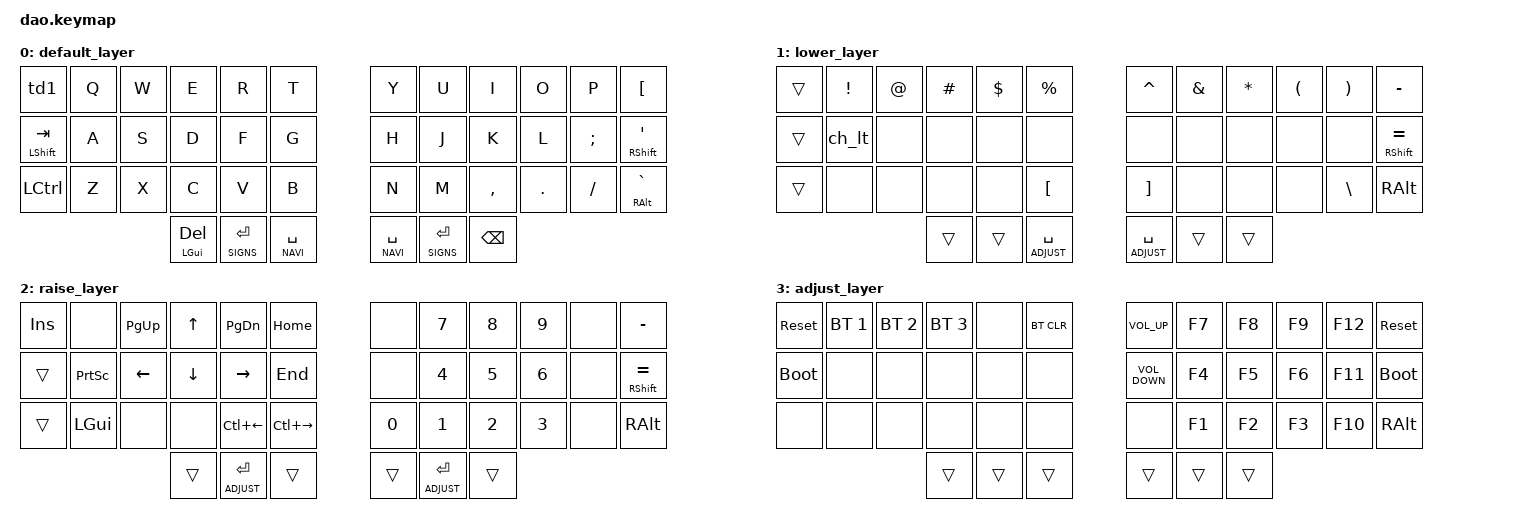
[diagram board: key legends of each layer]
/*
 * Copyright (c) 2021 Rafael Yumagulov
 *
 * SPDX-License-Identifier: MIT
 */

#include <behaviors.dtsi>
#include <dt-bindings/zmk/bt.h>
#include <dt-bindings/zmk/keys.h>
#include <dt-bindings/zmk/outputs.h>

#define LANG 0
#define SIGNS 1
#define NAVI 2
#define ADJUST 3

&lt {
    quick_tap_ms = <100>;
};

&mt {
    quick_tap_ms = <100>;
};

/ {
    behaviors {
        td0: tap_dance_0 {
            compatible = "zmk,behavior-tap-dance";
            label = "layer_switch_with_escape";
            #binding-cells = <0>;
            tapping-term-ms = <200>;
            bindings = <&ch_lt>, <&kp ESC>;
        };

        td1: tap_dance_1 {
            compatible = "zmk,behavior-tap-dance";
            label = "lang_switch_with_escape";
            #binding-cells = <0>;
            tapping-term-ms = <100>;
            bindings = <&ch_lg>, <&kp ESC>;
        };
    };

    macros {
        ch_lt: ch_lt {
            label = "ch_lt";
            compatible = "zmk,behavior-macro";
            #binding-cells = <0>;
            wait-ms = <40>;
            tap-ms = <40>;
            bindings =
                <&macro_press>,
                <&tog 1 &kp LSHIFT>,
                <&macro_tap>,
                <&kp LALT>,
                <&macro_pause_for_release>,
                <&macro_release>,
                <&tog 1 &kp LSHIFT>;
        };

        ch_lg: ch_lg {
            label = "ch_lg";
            compatible = "zmk,behavior-macro";
            #binding-cells = <0>;
            wait-ms = <20>;
            tap-ms = <20>;
            bindings =
                <&macro_press>,
                <&kp LSHIFT>,
                <&macro_tap>,
                <&kp LALT>,
                <&macro_release>,
                <&kp LSHIFT>;
        };
    };
};

/ {
    keymap {
        compatible = "zmk,keymap";

        default_layer {
            // .--------------------------------------------------------------.       .-----------------------------------------------------------.
            // | 1ch_lg/2ESC  |  Q      |  W     |  E     |  R      |  T      |       |  Y     |  U      |  I      |  O      |   P      |    [     |
            // |--------------+---------+--------+--------+---------+---------|       |--------+---------+---------+---------+----------+----------|
            // |   Tab/SHFT   |  A      |  S     |  D     |  F      |  G      |       |  H     |  J      |  K      |  L      |    ;     |   '/RSHFT|
            // |--------------+---------+--------+--------+---------+---------|       |--------+---------+---------+---------+----------+----------|
            // |   CTRL       |  Z      |  X     |  C     |  V      |  B      |       |  N     |  M      |    ,    |    .    |    /     |   `|ALT  |
            // '---------------------------------+--------+---------+---------+       |--------+---------+---------+---------+----------+----------'
            //                                   | DEL/GUI|ENT/SIGNS|SPC/NAVI |       |SPC/NAVI|ENT/SIGNS|  BSPC   |
            //                                   '--------+---------+---------'       '--------+---------+---------'

            bindings = <
&td1           &kp Q  &kp W  &kp E         &kp R          &kp T           &kp Y           &kp U          &kp I      &kp O    &kp P     &kp LBKT
&mt LSHFT TAB  &kp A  &kp S  &kp D         &kp F          &kp G           &kp H           &kp J          &kp K      &kp L    &kp SEMI  &mt RSHFT SQT
&kp LCTRL      &kp Z  &kp X  &kp C         &kp V          &kp B           &kp N           &kp M          &kp COMMA  &kp DOT  &kp FSLH  &mt RALT GRAVE
                             &mt LGUI DEL  &lt SIGNS RET  &lt NAVI SPACE  &lt NAVI SPACE  &lt SIGNS RET  &kp BSPC
            >;
        };

        lower_layer {
            // .--------------------------------------------------------------.       .-----------------------------------------------------------.
            // | 1ch_lg/2ESC  |    !   |    @    |   #    |    $    |    %    |       |   ^    |    &    |    *    |    (    |    )     |    -     |
            // |--------------+---------+--------+--------+---------+---------|       |--------+---------+---------+---------+----------+----------|
            // |   Tab/SHFT   |        |         |        |         |         |       |        |         |         |         |          | =/RSHFT  |
            // |--------------+---------+--------+--------+---------+---------|       |--------+---------+---------+---------+----------+----------|
            // |   CTRL       |        |         |        |         |    [    |       |   ]    |         |         |         |    \     |   ALT    |
            // '---------------------------------+--------+---------+---------+       |--------+---------+---------+-------------------------------'
            //                                   | DEL/GUI|ENT/SIGNS|SPC/NAVI |       |SPC/NAVI|ENT/SIGNS|  BSPC   |
            //                                   '--------+---------+---------'       '--------+---------+---------'

            bindings = <
&trans  &kp EXCL  &kp AT  &kp HASH  &kp DLLR  &kp PRCNT         &kp CARET         &kp AMPS  &kp STAR  &kp LPAR  &kp RPAR  &kp MINUS
&trans  &ch_lt    &none   &none     &none     &none             &none             &none     &none     &none     &none     &mt RSHFT EQUAL
&trans  &none     &none   &none     &none     &kp LBKT          &kp RBKT          &none     &none     &none     &kp BSLH  &kp RALT
                          &trans    &trans    &lt ADJUST SPACE  &lt ADJUST SPACE  &trans    &trans
            >;
        };

        raise_layer {
            // .---------------------------------------------------------------.       .------------------------------------------------------------------.
            // |     INS      |        |   PgUP  |    UP  |   PgDn  |   HOME   |       |         |    7     |    8    |    9     |          |    -        |
            // |--------------+--------+---------+--------+---------+----------|       |---------+----------+---------+----------+----------+-------------|
            // |     Tab/SHFT |  PSCRN |   LEFT  |   DOWN |   RIGHT |   END    |       |         |    4     |    5    |    6     |          | =/RSHFT     |
            // |--------------+--------+---------+--------+---------+----------|       |---------+----------+---------+----------+----------+-------------|
            // |     Ctrl     |  LGUI  |         |        |CTRL+LEFT|CTRL+RIGHT|       |    0    |    1     |    2    |    3     |          |   ALT       |
            // '---------------------------------+--------+---------+----------+       |---------+----------+---------+-----------------------------------'
            //                                   |        |  ADJUST |          |       |  SPC    |  ENT     |  BSPC   |
            //                                   '--------+---------+----------'       '---------+----------+---------'

            bindings = <
&kp INS  &none      &kp PAGE_UP     &kp UP_ARROW    &kp PAGE_DOWN       &kp HOME             &none   &kp N7          &kp N8  &kp N9  &none  &kp MINUS
&trans   &kp PSCRN  &kp LEFT_ARROW  &kp DOWN_ARROW  &kp RIGHT_ARROW     &kp END              &none   &kp N4          &kp N5  &kp N6  &none  &mt RSHFT EQUAL
&trans   &kp LGUI   &none           &none           &kp LC(LEFT_ARROW)  &kp LC(RIGHT_ARROW)  &kp N0  &kp N1          &kp N2  &kp N3  &none  &kp RALT
                                    &trans          &lt ADJUST RET      &trans               &trans  &lt ADJUST RET  &trans
            >;
        };

        adjust_layer {
            // .--------------------------------------------------------.       .--------------------------------------------------------------.
            // |  RESET  |  BT0   |  BT1   |   BT2  |         |  BTCL   |       |   VOL+ |   F7   |   F8    |   F9    |   F12    |  RESET      |
            // |---------+--------+--------+--------+---------+---------|       |--------+--------+---------+---------+----------+-------------|
            // |  BOOT   |        |        |        |         |         |       |   VOL- |   F4   |   F5    |   F6    |   F11    |  BOOT       |
            // |---------+--------+--------+--------+---------+---------|       |--------+--------+---------+---------+----------+-------------|
            // |         |        |        |        |         | OUT_TOG |       | OUT_TOG|   F1   |   F2    |   F3    |   F10    |  ALT        |
            // '---------------------------+--------+---------+---------+       |--------+--------+---------+----------------------------------'
            //                             |        |         |         |       |        |        |         |
            //                             '--------+---------+---------'       '--------+--------+---------'

            bindings = <
&sys_reset   &bt BT_SEL 1  &bt BT_SEL 2  &bt BT_SEL 3  &none   &bt BT_CLR   &kp C_VOLUME_UP    &kp F7  &kp F8  &kp F9  &kp F12  &sys_reset
&bootloader  &none         &none         &none         &none   &none        &kp C_VOLUME_DOWN  &kp F4  &kp F5  &kp F6  &kp F11  &bootloader
&none        &none         &none         &none         &none   &none      &none           &kp F1  &kp F2  &kp F3  &kp F10  &kp RALT
                                         &trans        &trans  &trans       &trans             &trans  &trans
            >;
        };
    };
};
